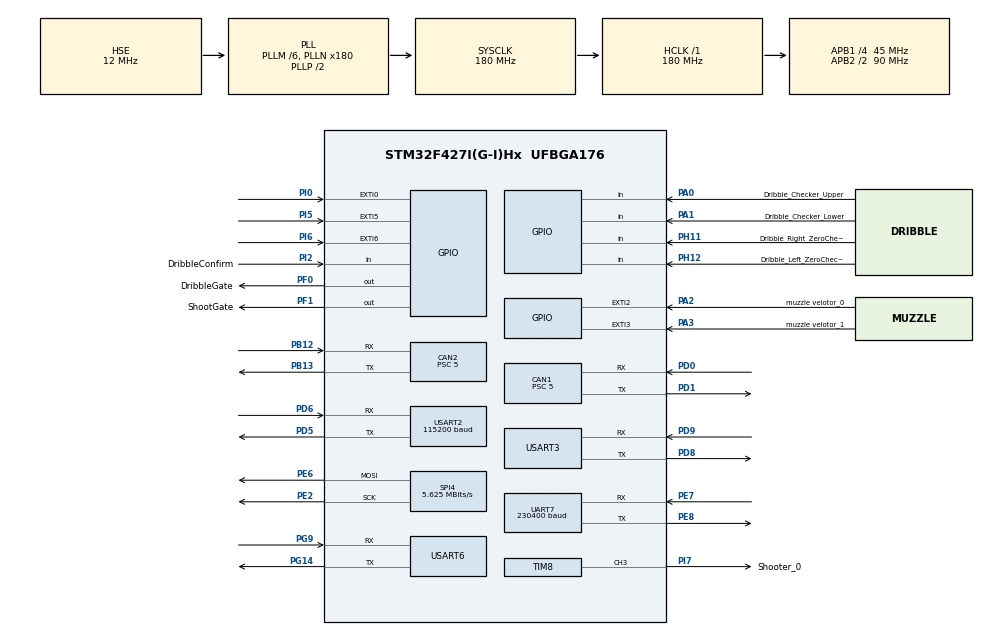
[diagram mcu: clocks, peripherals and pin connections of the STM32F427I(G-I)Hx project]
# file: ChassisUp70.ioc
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CAN1.ABOM=ENABLE
CAN1.BS1=CAN_BS1_5TQ
CAN1.BS2=CAN_BS2_3TQ
CAN1.CalculateBaudRate=1000000
CAN1.CalculateTimeBit=1000
CAN1.CalculateTimeQuantum=111.11111111111111
CAN1.Prescaler=5
CAN2.ABOM=ENABLE
CAN2.BS1=CAN_BS1_5TQ
CAN2.BS2=CAN_BS2_3TQ
CAN2.CalculateBaudRate=1000000
CAN2.CalculateTimeBit=1000
CAN2.CalculateTimeQuantum=111.11111111111111
CAN2.Prescaler=5
Dma.Request0=USART2_RX
Dma.Request1=USART2_TX
Dma.Request2=USART6_RX
Dma.Request3=USART6_TX
Dma.Request4=UART7_RX
Dma.Request5=SPI4_TX
Dma.Request6=USART3_RX
Dma.Request7=USART3_TX
Dma.SPI4_TX.5.Direction=DMA_MEMORY_TO_PERIPH
Dma.SPI4_TX.5.FIFOMode=DMA_FIFOMODE_DISABLE
Dma.SPI4_TX.5.Instance=DMA2_Stream4
Dma.SPI4_TX.5.MemDataAlignment=DMA_MDATAALIGN_BYTE
Dma.SPI4_TX.5.MemInc=DMA_MINC_ENABLE
Dma.SPI4_TX.5.Mode=DMA_NORMAL
Dma.SPI4_TX.5.PeriphDataAlignment=DMA_PDATAALIGN_BYTE
Dma.SPI4_TX.5.PeriphInc=DMA_PINC_DISABLE
Dma.SPI4_TX.5.Priority=DMA_PRIORITY_LOW
Dma.UART7_RX.4.Direction=DMA_PERIPH_TO_MEMORY
Dma.UART7_RX.4.FIFOMode=DMA_FIFOMODE_DISABLE
Dma.UART7_RX.4.Instance=DMA1_Stream3
Dma.UART7_RX.4.MemDataAlignment=DMA_MDATAALIGN_BYTE
Dma.UART7_RX.4.MemInc=DMA_MINC_ENABLE
Dma.UART7_RX.4.Mode=DMA_NORMAL
Dma.UART7_RX.4.PeriphDataAlignment=DMA_PDATAALIGN_BYTE
Dma.UART7_RX.4.PeriphInc=DMA_PINC_DISABLE
Dma.UART7_RX.4.Priority=DMA_PRIORITY_VERY_HIGH
Dma.USART2_RX.0.Direction=DMA_PERIPH_TO_MEMORY
Dma.USART2_RX.0.FIFOMode=DMA_FIFOMODE_DISABLE
Dma.USART2_RX.0.Instance=DMA1_Stream5
Dma.USART2_RX.0.MemDataAlignment=DMA_MDATAALIGN_BYTE
Dma.USART2_RX.0.MemInc=DMA_MINC_ENABLE
Dma.USART2_RX.0.Mode=DMA_NORMAL
Dma.USART2_RX.0.PeriphDataAlignment=DMA_PDATAALIGN_BYTE
Dma.USART2_RX.0.PeriphInc=DMA_PINC_DISABLE
Dma.USART2_RX.0.Priority=DMA_PRIORITY_VERY_HIGH
Dma.USART2_TX.1.Direction=DMA_MEMORY_TO_PERIPH
Dma.USART2_TX.1.FIFOMode=DMA_FIFOMODE_DISABLE
Dma.USART2_TX.1.Instance=DMA1_Stream6
Dma.USART2_TX.1.MemDataAlignment=DMA_MDATAALIGN_BYTE
Dma.USART2_TX.1.MemInc=DMA_MINC_ENABLE
Dma.USART2_TX.1.Mode=DMA_NORMAL
Dma.USART2_TX.1.PeriphDataAlignment=DMA_PDATAALIGN_BYTE
Dma.USART2_TX.1.PeriphInc=DMA_PINC_DISABLE
Dma.USART2_TX.1.Priority=DMA_PRIORITY_HIGH
Dma.USART3_RX.6.Direction=DMA_PERIPH_TO_MEMORY
Dma.USART3_RX.6.FIFOMode=DMA_FIFOMODE_DISABLE
Dma.USART3_RX.6.Instance=DMA1_Stream1
Dma.USART3_RX.6.MemDataAlignment=DMA_MDATAALIGN_BYTE
Dma.USART3_RX.6.MemInc=DMA_MINC_ENABLE
Dma.USART3_RX.6.Mode=DMA_NORMAL
Dma.USART3_RX.6.PeriphDataAlignment=DMA_PDATAALIGN_BYTE
Dma.USART3_RX.6.PeriphInc=DMA_PINC_DISABLE
Dma.USART3_RX.6.Priority=DMA_PRIORITY_VERY_HIGH
Dma.USART3_TX.7.Direction=DMA_MEMORY_TO_PERIPH
Dma.USART3_TX.7.FIFOMode=DMA_FIFOMODE_DISABLE
Dma.USART3_TX.7.Instance=DMA1_Stream4
Dma.USART3_TX.7.MemDataAlignment=DMA_MDATAALIGN_BYTE
Dma.USART3_TX.7.MemInc=DMA_MINC_ENABLE
Dma.USART3_TX.7.Mode=DMA_NORMAL
Dma.USART3_TX.7.PeriphDataAlignment=DMA_PDATAALIGN_BYTE
Dma.USART3_TX.7.PeriphInc=DMA_PINC_DISABLE
Dma.USART3_TX.7.Priority=DMA_PRIORITY_HIGH
Dma.USART6_RX.2.Direction=DMA_PERIPH_TO_MEMORY
Dma.USART6_RX.2.FIFOMode=DMA_FIFOMODE_DISABLE
Dma.USART6_RX.2.Instance=DMA2_Stream1
Dma.USART6_RX.2.MemDataAlignment=DMA_MDATAALIGN_BYTE
Dma.USART6_RX.2.MemInc=DMA_MINC_ENABLE
Dma.USART6_RX.2.Mode=DMA_NORMAL
Dma.USART6_RX.2.PeriphDataAlignment=DMA_PDATAALIGN_BYTE
Dma.USART6_RX.2.PeriphInc=DMA_PINC_DISABLE
Dma.USART6_RX.2.Priority=DMA_PRIORITY_VERY_HIGH
Dma.USART6_TX.3.Direction=DMA_MEMORY_TO_PERIPH
Dma.USART6_TX.3.FIFOMode=DMA_FIFOMODE_DISABLE
Dma.USART6_TX.3.Instance=DMA2_Stream6
Dma.USART6_TX.3.MemDataAlignment=DMA_MDATAALIGN_BYTE
Dma.USART6_TX.3.MemInc=DMA_MINC_ENABLE
Dma.USART6_TX.3.Mode=DMA_NORMAL
Dma.USART6_TX.3.PeriphDataAlignment=DMA_PDATAALIGN_BYTE
Dma.USART6_TX.3.PeriphInc=DMA_PINC_DISABLE
Dma.USART6_TX.3.Priority=DMA_PRIORITY_HIGH
Mcu.Family=STM32F4
Mcu.Name=STM32F427I(G-I)Hx
Mcu.Package=UFBGA176
NVIC.CAN1_RX0_IRQn=true\:0\:0\:false\:false\:true\:true\:true\:true
NVIC.CAN1_RX1_IRQn=true\:0\:0\:false\:false\:true\:true\:true\:true
NVIC.CAN2_RX0_IRQn=true\:0\:0\:false\:false\:true\:true\:true\:true
NVIC.CAN2_RX1_IRQn=true\:0\:0\:false\:false\:true\:true\:true\:true
NVIC.DMA1_Stream1_IRQn=true\:0\:0\:false\:false\:true\:false\:true\:true
NVIC.DMA1_Stream3_IRQn=true\:0\:0\:false\:false\:true\:false\:true\:true
NVIC.DMA1_Stream4_IRQn=true\:0\:0\:false\:false\:true\:false\:true\:true
NVIC.DMA1_Stream5_IRQn=true\:0\:0\:false\:false\:true\:false\:true\:true
NVIC.DMA1_Stream6_IRQn=true\:0\:0\:false\:false\:true\:false\:true\:true
NVIC.DMA2_Stream1_IRQn=true\:0\:0\:false\:false\:true\:false\:true\:true
NVIC.DMA2_Stream4_IRQn=true\:0\:0\:false\:false\:true\:false\:true\:true
NVIC.DMA2_Stream6_IRQn=true\:0\:0\:false\:false\:true\:false\:true\:true
NVIC.EXTI0_IRQn=true\:0\:0\:false\:false\:true\:true\:true\:true
NVIC.EXTI2_IRQn=true\:0\:0\:false\:false\:true\:true\:true\:true
NVIC.PriorityGroup=NVIC_PRIORITYGROUP_4
NVIC.TIM6_DAC_IRQn=true\:0\:0\:false\:false\:true\:true\:true\:true
NVIC.TIM7_IRQn=true\:0\:0\:false\:false\:true\:true\:true\:true
NVIC.UART7_IRQn=true\:0\:0\:false\:false\:true\:true\:true\:true
NVIC.USART2_IRQn=true\:0\:0\:false\:false\:true\:true\:true\:true
NVIC.USART3_IRQn=true\:0\:0\:false\:false\:true\:true\:true\:true
NVIC.USART6_IRQn=true\:0\:0\:false\:false\:true\:true\:true\:true
PA0/WKUP.GPIO_Label=Dribble_Checker_Upper
PA0/WKUP.GPIO_PuPd=GPIO_PULLDOWN
PA0/WKUP.Signal=GPIO_Input
PA1.GPIO_Label=Dribble_Checker_Lower
PA1.GPIO_PuPd=GPIO_PULLDOWN
PA1.Signal=GPIO_Input
PA13.Mode=Serial_Wire
PA13.Signal=SYS_JTMS-SWDIO
PA14.Mode=Serial_Wire
PA14.Signal=SYS_JTCK-SWCLK
PA2.GPIO_Label=muzzle velotor_0
PA2.GPIO_ModeDefaultEXTI=GPIO_MODE_IT_FALLING
PA2.GPIO_PuPd=GPIO_PULLUP
PA2.Signal=GPXTI2
PA3.GPIO_Label=muzzle velotor_1
PA3.GPIO_ModeDefaultEXTI=GPIO_MODE_IT_FALLING
PA3.GPIO_PuPd=GPIO_PULLUP
PA3.Signal=GPXTI3
PB12.Mode=CAN_Activate
PB12.Signal=CAN2_RX
PB13.Mode=CAN_Activate
PB13.Signal=CAN2_TX
PD0.Mode=CAN_Activate
PD0.Signal=CAN1_RX
PD1.Mode=CAN_Activate
PD1.Signal=CAN1_TX
PD5.Mode=Asynchronous
PD5.Signal=USART2_TX
PD6.Mode=Asynchronous
PD6.Signal=USART2_RX
PD8.Mode=Asynchronous
PD8.Signal=USART3_TX
PD9.Mode=Asynchronous
PD9.Signal=USART3_RX
PE2.Mode=TX_Only_Simplex_Unidirect_Master
PE2.Signal=SPI4_SCK
PE6.Mode=TX_Only_Simplex_Unidirect_Master
PE6.Signal=SPI4_MOSI
PE7.Mode=Asynchronous
PE7.Signal=UART7_RX
PE8.Mode=Asynchronous
PE8.Signal=UART7_TX
PF0.GPIO_Label=DribbleGate
PF0.GPIO_PuPd=GPIO_PULLDOWN
PF0.Signal=GPIO_Output
PF1.GPIO_Label=ShootGate
PF1.GPIO_PuPd=GPIO_PULLDOWN
PF1.GPIO_Speed=GPIO_SPEED_FREQ_MEDIUM
PF1.PinState=GPIO_PIN_RESET
PF1.Signal=GPIO_Output
PF9.Signal=SPI5_MOSI
PG14.Mode=Asynchronous
PG14.Signal=USART6_TX
PG9.Mode=Asynchronous
PG9.Signal=USART6_RX
PH0/OSC_IN.Mode=HSE-External-Oscillator
PH0/OSC_IN.Signal=RCC_OSC_IN
PH1/OSC_OUT.Mode=HSE-External-Oscillator
PH1/OSC_OUT.Signal=RCC_OSC_OUT
PH11.GPIO_Label=Dribble_Right_ZeroChecker
PH11.GPIO_PuPd=GPIO_PULLUP
PH11.Signal=GPIO_Input
PH12.GPIO_Label=Dribble_Left_ZeroChecker
PH12.GPIO_PuPd=GPIO_PULLUP
PH12.Signal=GPIO_Input
PI0.GPIO_ModeDefaultEXTI=GPIO_MODE_IT_RISING_FALLING
PI0.GPIO_PuPd=GPIO_PULLUP
PI0.Signal=GPXTI0
PI2.GPIO_Label=DribbleConfirm
PI2.GPIO_PuPd=GPIO_PULLUP
PI2.Signal=GPIO_Input
PI5.Signal=GPXTI5
PI6.Signal=GPXTI6
PI7.GPIO_Label=Shooter_0
PI7.GPIO_PuPd=GPIO_PULLDOWN
PI7.Signal=S_TIM8_CH3
ProjectManager.HeapSize=0x2000
ProjectManager.StackSize=0x2000
ProjectManager.TargetToolchain=MDK-ARM V5.32
RCC.48MHZClocksFreq_Value=90000000
RCC.AHBFreq_Value=180000000
RCC.APB1CLKDivider=RCC_HCLK_DIV4
RCC.APB1Freq_Value=45000000
RCC.APB1TimFreq_Value=90000000
RCC.APB2CLKDivider=RCC_HCLK_DIV2
RCC.APB2Freq_Value=90000000
RCC.APB2TimFreq_Value=180000000
RCC.CortexFreq_Value=180000000
RCC.HCLKFreq_Value=180000000
RCC.HSE_VALUE=12000000
RCC.HSI_VALUE=16000000
RCC.LSE_VALUE=32768
RCC.PLLM=6
RCC.PLLN=180
RCC.PLLSourceVirtual=RCC_PLLSOURCE_HSE
RCC.SYSCLKFreq_VALUE=180000000
RCC.SYSCLKSource=RCC_SYSCLKSOURCE_PLLCLK
RCC.VCOOutputFreq_Value=360000000
SH.S_TIM8_CH3.0=TIM8_CH3,PWM Generation3 CH3
SPI4.BaudRatePrescaler=SPI_BAUDRATEPRESCALER_16
SPI4.CLKPolarity=SPI_POLARITY_LOW
SPI4.CalculateBaudRate=5.625 MBits/s
SPI4.Direction=SPI_DIRECTION_2LINES
SPI4.Mode=SPI_MODE_MASTER
SPI4.VirtualType=VM_MASTER
STMicroelectronics.X-CUBE-ALGOBUILD.1.4.0.LibraryCcDSPOoLibraryJjDSPOoLibrary=true
TIM5.Period=1000000 - 1
TIM5.Prescaler=1800 - 1
TIM6.Period=5000 - 1
TIM6.Prescaler=180 - 1
TIM7.Period=1000 - 1
TIM7.Prescaler=180 - 1
TIM8.Channel-PWM\ Generation3\ CH3=TIM_CHANNEL_3
TIM8.Period=20000 - 1
TIM8.Prescaler=180 - 1
UART7.BaudRate=230400
UART7.VirtualMode=Asynchronous
USART2.BaudRate=115200
USART2.VirtualMode=VM_ASYNC
USART3.VirtualMode=VM_ASYNC
USART6.VirtualMode=VM_ASYNC
VP_STMicroelectronics.X-CUBE-ALGOBUILD_VS_DSPOoLibraryJjLibrary_1.4.0_1.4.0.Mode=DSPOoLibraryJjLibrary
VP_TIM5_VS_ClockSourceINT.Mode=Internal
VP_TIM6_VS_ClockSourceINT.Mode=Enable_Timer
VP_TIM7_VS_ClockSourceINT.Mode=Enable_Timer
VP_TIM8_VS_ClockSourceINT.Mode=Internal
board=custom

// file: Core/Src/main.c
/* USER CODE BEGIN Header */
/**
  ******************************************************************************
  * @file           : main.c
  * @brief          : Main program body
  ******************************************************************************
  * @attention
  *
  * Copyright (c) 2024 STMicroelectronics.
  * All rights reserved.
  *
  * This software is licensed under terms that can be found in the LICENSE file
  * in the root directory of this software component.
  * If no LICENSE file comes with this software, it is provided AS-IS.
  *
  ******************************************************************************
  */
/* USER CODE END Header */
#include "main.h"
#include "can.h"
#include "dma.h"
#include "spi.h"
#include "tim.h"
#include "usart.h"
#include "gpio.h"

/* USER CODE BEGIN Includes */
#include "rmt_stick.h"
#include "algorithm.h"
#include "AD7606.h"
#include "delay.h"
#include "string.h"
#include "stm32f4xx_hal_dma.h"
#include "action_OPS.h"
#include "silocator.h"
#include "motor_dm.h"
#include "bsp_can.h"
#include "flash_stm.h"
#include "motor_VESC.h"
#include "WS2812_yx.h"
#include "logic.h"
//dzx添加的库
#include "dzx_lib.h"
//-------------------
#define USE_SICKDATA

// 需要手动控制炮台时启用，调达妙时注释与否都可以调
// #define MANULLY_DEBUG

void CAN_Interrupt_Enable(CAN_HandleTypeDef *can_n);
void sendCanTXBuffer(int speed_rpm, float steer_angle_deg, uint8_t Steer_ID);
void sendCanTXBuffer_Confirm(uint8_t Steer_ID);
void sendMsgToChassis();
// 编码函数：将Vec3数据编码为字节数组
void encodeVec3(const Vec3* vec, uint8_t* buffer);
// 解码函数：从字节数组解码为Vec3数据
void decodeVec3(const uint8_t* buffer, Vec3* vec);

void WS2812_Refresh()
{
  HAL_SPI_Transmit_DMA(&hspi4, (uint8_t*)WS2812buf2send, 24 * (LED_Nums + 1));
}

int can_recvs = 0;
int send_speed_rpm = 1000;
float send_angle_deg = 30;
char print_String[48];
uint8_t vofa_data[24];

// 全局变量记录 上次触发 出膛速度测试 的时间
volatile uint32_t last_pa2_trigger_time = 0;
volatile uint32_t last_pd12_trigger_time = 0;
#define COOLDOWN_TIME_MS 1000 // 冷却时间 1 秒

// 总计时器
uint32_t General_RuntimeCounter = 0;

// 车体姿态、里程计姿态、激光修正姿态
Vec3 chassis_tf;
Vec3 odom_tf;
Vec3 silocator_tf = {0, 0, 0};

// 车体里程计
Odometer chassis_odom;

// 接收到的 Zigbee 数据包
DL_LN_Msg my_recv_msg;

uint8_t sendbuf[8] = {0};
float acc[8];

// 安全锁
int safe_locks = 0;
// 安全员倒计时
int safe_guard_timer = 0;

// // 由遥控器接收到的底盘动作
int check_can_id = 0;

// 速度增益
float VelocityGain = 1.0;
float RotateVelocityGain = 1.0;

// CAN总线接收次数
int can_1_recvtimes = 0;
int can_2_recvtimes = 0;
int can_recvtimes = 0;

// 运球3508最大电流
float m3508R_max_current = 0;
float m3508L_max_current = 0;

/***************    状态变量    *********************/
int dribble_claw_inorout = DRIBBLE_CLAW_IN;     // 开始爪子在里边
int magazine_OpenorClose = MAGAZINE_CLOSE;      // 弹匣默认关闭

/*******************    所有的初始化状态变量    *********************/    // 如果没有初始化就做动作，会产生可怕的后果！

/****************     摩擦轮转速设置    ***********************/
float VESC_rpm_up = 0;
float VESC_rpm_down = 0;
int read_VESC_id = 0;

/***********************    Debug用的标志    ***********************/
int Claw_Close_Flag = 0;
int Claw_Open_Flag = 0;

int Claw_Up_Flag = 0;
int Claw_Down_Flag = 0;
int Claw_Middle_Flag = 0;

int up_debug_flag = 0;
int down_debug_flag = 0;

float hori_distance_from_basket = 0;

int temp_1, temp_2;
float temp_float;

/***********************    达妙用的数据    ***********************/

float ShooterDM_position = 0.0f;
float MagazineDM_position = 0.015f;
float ShooterDM_speed = DM_ROUND_PERSEC / 2;
float MagazineDM_speed = DM_TWOROUND_PERSEC;

float DM_Left_position = 0;
float DM_Left_speed = 1.57;
float DM_Right_position = 0;
float DM_Right_speed = 1.57;

// 二、四、六号电机
uint8_t Two_buf[8] = {0};
uint8_t Four_buf[8] = {0};
uint8_t Six_buf[8] = {0};

// 炮筒、弹匣达妙电机
uint8_t ShooterDM_buf[8] = {0};
uint8_t MagazineDM_buf[8] = {0};

//
float sensor_value = 0.0f;

/* USER CODE END Includes */

/* USER CODE BEGIN PTD */
void vesc_decode(){

}

void HAL_CAN_RxFifo0MsgPendingCallback(CAN_HandleTypeDef *hcan)
{
  CAN_RxHeaderTypeDef RxHeader;
  uint8_t RxData[8]; // 假设CAN消息数据长度为8字节
	can_recvtimes++;

  if (hcan == &hcan1)
  {
    // 从FIFO 0中读取消息
    if (HAL_CAN_GetRxMessage(hcan, CAN_RX_FIFO0, &RxHeader, RxData) == HAL_OK)
    {
      can_1_recvtimes++;
    }
    if((RxHeader.ExtId >> 8) == 0x09)   // 如果是VESC发来的消息
      {
				read_VESC_id = RxHeader.ExtId;
        MotorVescRecvData vesc_recvs; // 新建接收用的结构体
        vesc_recvs.rx_header = RxHeader;

        for (int i = 0; i < 8; i++)
        {
          vesc_recvs.recv_data[i] = RxData[i];
        }
        motor_vesc_handle(vesc_recvs);
      }
    //HAL_CAN_ActivateNotification(&hcan1, CAN_IT_RX_FIFO0_MSG_PENDING);
  }

  else if (hcan == &hcan2)
  {
    // 从FIFO 0中读取消息
    if (HAL_CAN_GetRxMessage(hcan, CAN_RX_FIFO0, &RxHeader, RxData) == HAL_OK)
    {
      can_2_recvtimes++;

      if((RxHeader.ExtId >> 8) == 0x09)   // 如果是VESC发来的消息
      {
				read_VESC_id = RxHeader.ExtId;
        MotorVescRecvData vesc_recvs; // 新建接收用的结构体
        vesc_recvs.rx_header = RxHeader;

        for (int i = 0; i < 8; i++)
        {
          vesc_recvs.recv_data[i] = RxData[i];
        }
        motor_vesc_handle(vesc_recvs);
      }
    }
    HAL_CAN_ActivateNotification(&hcan2, CAN_IT_RX_FIFO0_MSG_PENDING|CAN_IT_RX_FIFO1_MSG_PENDING);
  }
}
void HAL_CAN_RxFifo1MsgPendingCallback(CAN_HandleTypeDef *hcan)
{
  CAN_RxHeaderTypeDef RxHeader;
  uint8_t RxData[8]; // 假设CAN消息数据长度为8字节
	can_recvtimes++;

  if (hcan == &hcan1)
  {
    // 从FIFO 0中读取消息
    if (HAL_CAN_GetRxMessage(hcan, CAN_RX_FIFO1, &RxHeader, RxData) == HAL_OK)
    {
      can_1_recvtimes++;
    }
    if((RxHeader.ExtId >> 8) == 0x09)   // 如果是VESC发来的消息
      {
				read_VESC_id = RxHeader.ExtId;
        MotorVescRecvData vesc_recvs; // 新建接收用的结构体
        vesc_recvs.rx_header = RxHeader;

        for (int i = 0; i < 8; i++)
        {
          vesc_recvs.recv_data[i] = RxData[i];
        }
        motor_vesc_handle(vesc_recvs);
      }
    //HAL_CAN_ActivateNotification(&hcan1, CAN_IT_RX_FIFO0_MSG_PENDING);
  }

  else if (hcan == &hcan2)
  {
    // 从FIFO 0中读取消息
    if (HAL_CAN_GetRxMessage(hcan, CAN_RX_FIFO1, &RxHeader, RxData) == HAL_OK)
    {
      can_2_recvtimes++;

      if((RxHeader.ExtId >> 8) == 0x09)   // 如果是VESC发来的消息
      {
				read_VESC_id = RxHeader.ExtId;
        MotorVescRecvData vesc_recvs; // 新建接收用的结构体
        vesc_recvs.rx_header = RxHeader;

        for (int i = 0; i < 8; i++)
        {
          vesc_recvs.recv_data[i] = RxData[i];
        }
        motor_vesc_handle(vesc_recvs);
      }
    }
    //HAL_CAN_ActivateNotification(&hcan2, CAN_IT_RX_FIFO0_MSG_PENDING|CAN_IT_RX_FIFO1_MSG_PENDING);
  }
}
uint8_t uart_2_rx_Buffer[48];
uint8_t preserve_Buffer[48];
int uart_recv_size = 0;

uint8_t uart_7_rx_Buffer[24];
uint8_t uart_7_saves_Buffer[24];

uint8_t uart_3_rx_Buffer[20];
uint8_t uart_3_saves_Buffer[20];

int uart_recvs = 0;

int uart_recvs_persec = 0;
int uart_recvs_persecs[16] = {0};
uint8_t uart_recvs_persecs_p = 0;
int all_uart_recvs = 0;

int TimeCounting = 0;
int sieze;

float Byte2Float(uint8_t *byte)
{
    float f;
    uint8_t *p = (uint8_t *)&f;
    p[0] = byte[0];
    p[1] = byte[1];
    p[2] = byte[2];
    p[3] = byte[3];
    return f;
}

//解析上位机的数据
int decode_PC(float *V_x, float *V_y, float *V_w, uint8_t rx_Buffer[])//有问题，不能用
{
  if (rx_Buffer[0] == 0xFA && rx_Buffer[13] == 0xFB)
  {
    float speed[3] = {0.0f, 0.0f, 0.0f};
      // 四字节转浮点数
      for (int i = 0; i < 12; i += 4)
      {
          speed[i / 4] = Byte2Float(rx_Buffer + 1 + i);
          // 想着限幅
      }
      *V_x = speed[0]*100;
      *V_y = speed[1]*100;
      *V_w = speed[2]*100;
			if(*V_x > 5) *V_x = 5;
			if(*V_y > 5) *V_y = 5;
			if(*V_w > 5) *V_w = 5;
    return 1;
  }
	return 0;
}

/* 串口中断事件回调函数，包含遥控器控制，上位机控制，需在.h中选择模式 */
void HAL_UARTEx_RxEventCallback(UART_HandleTypeDef *huart, uint16_t Size)
{
   if (huart == &huart2)   // 来自串口2
   {
			uart_recvs++;
     // 存储到临时存储区
     memcpy(preserve_Buffer, uart_2_rx_Buffer, sizeof(preserve_Buffer));

     // 如果能够成功解码
     if(rmt_decode_joystick_msg(&My_joystick, uart_2_rx_Buffer))
     {
       uart_recvs_persec++;
       // 在成功接收到遥控器时，通知安全守卫
       safe_guard_timer = SAFE_GUARD_TIME;
     }

     memset(uart_2_rx_Buffer, 0, sizeof(uart_2_rx_Buffer));
			HAL_UARTEx_ReceiveToIdle_DMA(&huart2, uart_2_rx_Buffer, sizeof(uart_2_rx_Buffer));
		 __HAL_DMA_DISABLE_IT(&hdma_usart2_rx, DMA_IT_HT);
   }

   else if (huart == &huart7 && Size == 13)   // 来自串口7
   {
			uart_recvs++;
     // 存储到临时存储区
     memcpy(uart_7_saves_Buffer, uart_7_rx_Buffer, sizeof(uart_7_saves_Buffer));
     decodeVec3(uart_7_saves_Buffer, &chassis_tf);

     memset(uart_7_rx_Buffer, 0, sizeof(uart_7_rx_Buffer));
		  HAL_UARTEx_ReceiveToIdle_DMA(&huart7, uart_7_rx_Buffer, sizeof(uart_7_rx_Buffer));
    __HAL_DMA_DISABLE_IT(&hdma_uart7_rx, DMA_IT_HT);
    }

      else if (huart == &huart3)   // 来自串口2
      {
        #ifdef USE_PC
        static float speed[3] = {0.0f, 0.0f, 0.0f};
        uart_recvs++;
        // 存储到临时存储区
        memcpy(uart_3_saves_Buffer, uart_3_rx_Buffer, sizeof(uart_3_saves_Buffer));
        if (uart_3_rx_Buffer[0] == 0xFA && uart_3_rx_Buffer[13] == 0xFB)
        {
          for (int i = 0; i < 12; i += 4)
            {
                speed[i / 4] = Byte2Float(uart_3_rx_Buffer + 1 + i);
                //限幅
                if (speed[i / 4] > 0.8)
                {
                    speed[i / 4] = 0.8;
                }
                else if (speed[i / 4] < -0.8)
                {
                    speed[i / 4] = -0.8;
                }
            }
            Vx = speed[0]*4.5;
            Vy = speed[1]*4.5;
            Vw = speed[2];
        }
				        uart_recvs_persec++;
        // 在成功接收到遥控器时，通知安全守卫
        safe_guard_timer = SAFE_GUARD_TIME;
        memset(uart_3_rx_Buffer, 0, sizeof(uart_3_rx_Buffer));
        HAL_UARTEx_ReceiveToIdle_DMA(&huart3, uart_3_rx_Buffer, sizeof(uart_3_rx_Buffer));
				__HAL_DMA_DISABLE_IT(&hdma_usart3_rx, DMA_IT_HT);
         #endif
      }

}

/* 外部中断回调函数 */
void HAL_GPIO_EXTI_Callback(uint16_t GPIO_Pin)
{
  uint32_t current_time = HAL_GetTick();

    if (GPIO_Pin == muzzle_velotor_0_Pin)    // PA2下降沿触发
    {
      if (current_time - last_pa2_trigger_time >= COOLDOWN_TIME_MS)
      {
        last_pa2_trigger_time = current_time;

        // 停止定时器（如果正在运行），重置计数器并启动
        HAL_TIM_Base_Stop(&htim5);
        __HAL_TIM_SET_COUNTER(&htim5, 0);
        HAL_TIM_Base_Start(&htim5);
      }
    }
    else if (GPIO_Pin == muzzle_velotor_1_Pin)   // PA3下降沿触发
    {
      if (current_time - last_pd12_trigger_time >= COOLDOWN_TIME_MS)
      {
        last_pd12_trigger_time = current_time;

        // 停止定时器并读取计数值
        HAL_TIM_Base_Stop(&htim5);
        muzzle_velo_count = __HAL_TIM_GET_COUNTER(&htim5);
        measurement_done = 1;  // 设置标志位
      }
    }
}
/* USER CODE END PTD */

void SystemClock_Config(void);
/* USER CODE BEGIN PFP */
volatile uint8_t lasdjfkl_flag = 0;
//测试运球的函数，上面为-3000，下面为30000，角度为0.5
void Logic_Yunqiu_test()
{

	VESC_rpm_up = -3000;
	VESC_rpm_down = 33000;
	  motor_vesc_set_rpm(0, VESC_rpm_up);
    motor_vesc_set_rpm(1, VESC_rpm_up);
    motor_vesc_set_rpm(2, VESC_rpm_down);
	HAL_Delay(1000);
	HAL_GPIO_WritePin(GPIOF, GPIO_PIN_1, GPIO_PIN_SET);
	HAL_Delay(1000);

  HAL_GPIO_WritePin(GPIOF, GPIO_PIN_1, GPIO_PIN_RESET);
		HAL_Delay(10);
	VESC_rpm_up = -3000;
	VESC_rpm_down = -3000;
	  motor_vesc_set_rpm(0, VESC_rpm_up);
    motor_vesc_set_rpm(1, VESC_rpm_up);
    motor_vesc_set_rpm(2, VESC_rpm_down);

	lasdjfkl_flag = 0;

}
/* USER CODE END PFP */

/* USER CODE BEGIN 0 */

/*************    这些是灯带状态的实现变量，全都是全局变量    ****************/

extern Vec3 chassis_speed_vec;
float dzx_freq;
volatile uint8_t eee_flag=0;

/* USER CODE END 0 */

int main(void)
{

  /* MCU Configuration--------------------------------------------------------*/

  /* Reset of all peripherals, Initializes the Flash interface and the Systick. */
  HAL_Init();

  /* Configure the system clock */
  SystemClock_Config();

  /* Initialize all configured peripherals */
  MX_GPIO_Init();
  MX_DMA_Init();
  MX_CAN1_Init();
  MX_USART2_UART_Init();
  MX_TIM6_Init();
  MX_USART6_UART_Init();
  MX_TIM8_Init();
  MX_CAN2_Init();
  MX_TIM5_Init();
  MX_UART7_Init();
  MX_TIM7_Init();
  MX_SPI4_Init();
  MX_USART3_UART_Init();
  /* USER CODE BEGIN 2 */
  /************     初始化 灯带    **************/
  // WS2812_InitBuffer();
  // WS2812_AddStateLink(&carinit_flag, &NJUST_Purple_Expand);
  // WS2812_AddStateLink(&idle_flag, &Test_2c_gradflow);
  // WS2812_AddStateLink(&drbl_flag, &NJUST_Purple_Flow);
  // WS2812_AddStateLink(&gunload_flag, &Wonderful);
  // WS2812_AddStateLink(&FaShe_flag, &Wonderful);
  /************     初始化 气缸GPIO     **************/
	HAL_GPIO_WritePin(GPIOF, GPIO_PIN_1, GPIO_PIN_RESET);//继电器高电平触发

  /******************     初始化 摩擦轮    ************************/
  MotorVESC_Init(&motor_vesc_1, &hcan1, 0, 58);    // 左上
  MotorVESC_Init(&motor_vesc_2, &hcan1, 1, 72);     // 右上
  MotorVESC_Init(&motor_vesc_3, &hcan1, 2, 97);     // 下面那个
  // motor_c620_init(&hcan1);
  // M3508_Left = pids_create_init(0.18, 0.1, 0.0, 0.001, 250, 0.25, 0);
  // M3508_Right = pids_create_init(0.18, 0.1, 0.0, 0.001, 250, 0.25, 0);

  HAL_Delay(100);
  /************     使能定时器中断    **************/
  HAL_TIM_Base_Start_IT(&htim6);
  HAL_TIM_Base_Start_IT(&htim7);

  HAL_Delay(100);
  /************     初始化CAN1和CAN2    **************/
  bspcan_filter_init_recv_all(&hcan1);
  //CAN_Interrupt_Enable(&hcan1);
  HAL_CAN_Start(&hcan1);
  bspcan_filter_init_recv_all(&hcan2);
//  CAN_Interrupt_Enable(&hcan2);
  HAL_CAN_Start(&hcan2);

  HAL_Delay(100);
  /************     初始化  串口中断    **************/
	//  __HAL_UART_ENABLE_IT(&huart2,UART_IT_IDLE); //不用开
//	__HAL_UART_ENABLE_IT(&huart7,UART_IT_IDLE);
//  __HAL_UART_ENABLE_IT(&huart3,UART_IT_IDLE);
  HAL_UARTEx_ReceiveToIdle_DMA(&huart2, uart_2_rx_Buffer, sizeof(uart_2_rx_Buffer));    // 启动 串口DMA 空闲中断
  HAL_UARTEx_ReceiveToIdle_DMA(&huart7, uart_7_rx_Buffer, sizeof(uart_7_rx_Buffer));
  HAL_UARTEx_ReceiveToIdle_DMA(&huart3, uart_3_rx_Buffer, sizeof(uart_3_rx_Buffer));
  __HAL_DMA_DISABLE_IT(&hdma_usart2_rx, DMA_IT_HT);             // 关闭 DMA 传输过半中断（好像没啥用）
  __HAL_DMA_DISABLE_IT(&hdma_usart3_rx, DMA_IT_HT);
  __HAL_DMA_DISABLE_IT(&hdma_uart7_rx, DMA_IT_HT);

  HAL_Delay(100);
  /************     初始化  达妙电机    **************/
  // DM_buf_send(DM_MOTORID_MAGAZINE, DM_enable_buf, DM_MESTYPE_INIT);
  // HAL_Delay(75);
  // DM_get_posispd_buffer(MagazineDM_buf, 0.0f, DM_TWOROUND_PERSEC);
  // DM_buf_send(DM_MOTORID_MAGAZINE, MagazineDM_buf, DM_MESTYPE_POSITION);
  // HAL_Delay(1000);
  DM_buf_send(DM_MOTORID_SHOOTER, DM_enable_buf, DM_MESTYPE_POSITION);
  HAL_Delay(75);
  DM_get_posispd_buffer(ShooterDM_buf, 0.0f, DM_HALFROUND_PERSEC / 4);
  DM_buf_send(DM_MOTORID_SHOOTER, ShooterDM_buf, DM_MESTYPE_POSITION);

  HAL_Delay(100);
  /****************     方便下代码用的，可以去了    **********************/

  //
	DWT_Init(180);
  /* USER CODE END 2 */

  /* Infinite loop */
  /* USER CODE BEGIN WHILE */

  while (1)
  {
		//测试运球，下面是30000，上面是-3000
		 if(eee_flag==1){
		 	HAL_GPIO_WritePin(GPIOF, GPIO_PIN_1, GPIO_PIN_SET);
		 }
		 else HAL_GPIO_WritePin(GPIOF, GPIO_PIN_1, GPIO_PIN_RESET);

		// if(lasdjfkl_flag == 1) Logic_Yunqiu_test();
		//测试电机
		// MotorVESC_SetMotorRPM(&motor_vesc_1, motor_vesc_1.motor_rpm_set);
		// MotorVESC_SetMotorRPM(&motor_vesc_2, motor_vesc_2.motor_rpm_set);
		// MotorVESC_SetMotorRPM(&motor_vesc_3, motor_vesc_3.motor_rpm_set);
    // temp_1 = Claw_Dribble_Checker_Up;
    // temp_1 = HAL_GPIO_ReadPin(DribbleConfirm_GPIO_Port, DribbleConfirm_Pin);
    temp_2 = M3508CLAW_DribbleConf;
    // temp_float = magazine_linear(ShooterDM_position);

    /***************    向底盘发送消息    *******************/
    static uint32_t dzx_time=0;
    dzx_freq=DWT_GetDeltaT(&dzx_time);
		  // 计算摇杆输入
  rmt_estimate_js_input();
  // 映射摇杆输入到底盘速度
  algo_js_to_chassis_vec(&chassis_speed_vec, My_joystick);
  // 限制底盘输入
  algo_chassis_vec_constrain(&chassis_speed_vec, 0.1);

  // 右拨杆 确定速度等级
  if (RIGHT_PADDLE_IS_UP)
  {
    VelocityGain = 1.0;
  }
  else if (RIGHT_PADDLE_IS_MIDDLE)
  {
    VelocityGain = 2.0;
  }
  else if (RIGHT_PADDLE_IS_DOWN)
  {
    VelocityGain = 3.0;
  }
  else
  {
    VelocityGain = 0.5;
  }

  // 将底盘速度矢量分解到每个舵轮上
  algo_calc_steer_vecs_3(-Vx * VelocityGain, -Vy * VelocityGain, Vw * RotateVelocityGain, STR_MS);

	sendMsgToChassis();

    /***************    计算出膛速度    *******************/
    if (measurement_done)
    {
        measurement_done = 0;
        // 转换为秒（TIM5时钟为1MHz，每个计数=1μs）
        muzzle_velo_seconds = (float)muzzle_velo_count / 50000.0f;
        // 计算出速度
        muzzle_velo = MUZZLE_CHECKER_LEN / muzzle_velo_seconds;
    }

    /***************    循环控制  达妙  和  VESC，避免丢包    *******************/
    //调整炮塔仰角     (注：数值为RAD，不要填很大！，然后往前倾是负的)
//    DM_get_PosiSpd_bufferlim(ShooterDM_buf, ShooterDM_position, ShooterDM_speed, ShooterDM_Vertical, ShooterDM_Horizontal);
    DM_get_posispd_buffer(ShooterDM_buf, ShooterDM_position, ShooterDM_speed);
		DM_buf_send(DM_MOTORID_SHOOTER, ShooterDM_buf, DM_MESTYPE_POSITION);
    HAL_Delay(1);
    // // 调整弹匣开合
    // DM_get_PosiSpd_bufferlim(MagazineDM_buf, MagazineDM_position, MagazineDM_speed, 0.06, magazine_linear(ShooterDM_position));
    // DM_buf_send(DM_MOTORID_MAGAZINE, MagazineDM_buf, DM_MESTYPE_POSITION);

    motor_vesc_set_rpm(0, VESC_rpm_up);
    motor_vesc_set_rpm(1, VESC_rpm_up);
		// 0626 23：32 临时修改一下，目的是为了方便投篮的测试
    motor_vesc_set_rpm(2, VESC_rpm_down);

    /***************    发送串口消息    *******************/
    //snprintf((char*)vofa_data, sizeof(vofa_data), "d:%.2f,%.2f\n", m3508L_max_current, m3508R_max_current);
    // HAL_UART_Transmit_DMA(&huart6, vofa_data, sizeof(vofa_data));

    HAL_Delay(9);
    TimeCounting += 10;
    /* USER CODE END WHILE */

  }
}

void SystemClock_Config(void)
{
  RCC_OscInitTypeDef RCC_OscInitStruct = {0};
  RCC_ClkInitTypeDef RCC_ClkInitStruct = {0};

  /** Configure the main internal regulator output voltage
  */
  __HAL_RCC_PWR_CLK_ENABLE();
  __HAL_PWR_VOLTAGESCALING_CONFIG(PWR_REGULATOR_VOLTAGE_SCALE1);

  /** Initializes the RCC Oscillators according to the specified parameters
  * in the RCC_OscInitTypeDef structure.
  */
  RCC_OscInitStruct.OscillatorType = RCC_OSCILLATORTYPE_HSE;
  RCC_OscInitStruct.HSEState = RCC_HSE_ON;
  RCC_OscInitStruct.PLL.PLLState = RCC_PLL_ON;
  RCC_OscInitStruct.PLL.PLLSource = RCC_PLLSOURCE_HSE;
  RCC_OscInitStruct.PLL.PLLM = 6;
  RCC_OscInitStruct.PLL.PLLN = 180;
  RCC_OscInitStruct.PLL.PLLP = RCC_PLLP_DIV2;
  RCC_OscInitStruct.PLL.PLLQ = 4;
  if (HAL_RCC_OscConfig(&RCC_OscInitStruct) != HAL_OK)
  {
    Error_Handler();
  }

  /** Activate the Over-Drive mode
  */
  if (HAL_PWREx_EnableOverDrive() != HAL_OK)
  {
    Error_Handler();
  }

  /** Initializes the CPU, AHB and APB buses clocks
  */
  RCC_ClkInitStruct.ClockType = RCC_CLOCKTYPE_HCLK|RCC_CLOCKTYPE_SYSCLK
                              |RCC_CLOCKTYPE_PCLK1|RCC_CLOCKTYPE_PCLK2;
  RCC_ClkInitStruct.SYSCLKSource = RCC_SYSCLKSOURCE_PLLCLK;
  RCC_ClkInitStruct.AHBCLKDivider = RCC_SYSCLK_DIV1;
  RCC_ClkInitStruct.APB1CLKDivider = RCC_HCLK_DIV4;
  RCC_ClkInitStruct.APB2CLKDivider = RCC_HCLK_DIV2;

  if (HAL_RCC_ClockConfig(&RCC_ClkInitStruct, FLASH_LATENCY_5) != HAL_OK)
  {
    Error_Handler();
  }
}

/* USER CODE BEGIN 4 */

// 编码函数实现
void encodeVec3(const Vec3* vec, uint8_t* buffer) {
    memcpy(buffer, &vec->x, sizeof(float));
    memcpy(buffer + sizeof(float), &vec->y, sizeof(float));
    memcpy(buffer + 2 * sizeof(float), &vec->z, sizeof(float));
}

// 解码函数实现
void decodeVec3(const uint8_t* buffer, Vec3* vec) {
    memcpy(&vec->x, buffer, sizeof(float));
    memcpy(&vec->y, buffer + sizeof(float), sizeof(float));
    memcpy(&vec->z, buffer + 2 * sizeof(float), sizeof(float));
}

void CAN_Interrupt_Enable(CAN_HandleTypeDef *can_n)
{
    if (HAL_CAN_ActivateNotification(can_n, CAN_IT_RX_FIFO0_MSG_PENDING|CAN_IT_RX_FIFO1_MSG_PENDING) != HAL_OK)
    {
        Error_Handler();
        // 中断配置失败处理
    }
}

// 安全锁 置位 时，才可向底盘发送消息
float	steer_angle_offset_0 = 0;
float	steer_angle_offset_1	= 0;
float	steer_angle_offset_2 = 0;//舵轮零位补偿，该值大于0时，轮顺时针转
void sendMsgToChassis()
{
  if (safe_locks)
    {
        if (STR_MS[0].x < 120)   // 如果慢于这个速度
        {
          sendCanTXBuffer(0, algo_steerangles_preserve[0], 1);
        }
        else
        {
          algo_steerangles_preserve[0] = STR_MS[0].y;   // 存储下角度
					algo_steerangles_preserve[0] += steer_angle_offset_0;
          sendCanTXBuffer(STR_MS[0].x * VelocityGain, algo_steerangles_preserve[0], 1);
        }

        if (STR_MS[1].x < 120)   // 如果慢于这个速度
        {
          sendCanTXBuffer(0, algo_steerangles_preserve[1], 2);
        }
        else
        {
          algo_steerangles_preserve[1] = STR_MS[1].y;   // 存储下角度
					algo_steerangles_preserve[1] += steer_angle_offset_1;
          sendCanTXBuffer(STR_MS[1].x * VelocityGain, algo_steerangles_preserve[1], 2);
        }

        if (STR_MS[2].x < 120)   // 如果慢于这个速度
        {
          sendCanTXBuffer(0, algo_steerangles_preserve[2], 3);
        }
        else
        {
          algo_steerangles_preserve[2] = STR_MS[2].y;   // 存储下角度
					algo_steerangles_preserve[2] += steer_angle_offset_2;
          sendCanTXBuffer(STR_MS[2].x * VelocityGain, algo_steerangles_preserve[2], 3);
        }
    }
    else    // 安全锁不置位时，确认链接
    {
        sendCanTXBuffer_Confirm(1);
        sendCanTXBuffer_Confirm(2);
        sendCanTXBuffer_Confirm(3);
    }
}

void sendCanTXBuffer(int speed_rpm, float steer_angle_deg, uint8_t Steer_ID)
{
  static uint32_t txmailbox;		        // CAN 邮箱
  CAN_TxHeaderTypeDef TxMsg;		        // TX 消息

  TxMsg.DLC = 0x08 ;		          // CAN 消息长度设置为8个字节
  TxMsg.RTR = CAN_RTR_DATA ;		        // 非远程帧，普通数据帧
  TxMsg.IDE = CAN_ID_EXT ;		          // 发送的帧是扩展帧
  TxMsg.ExtId = STEER_Control * Steer_ID;             // CAN_ID

  TxMsg.TransmitGlobalTime = DISABLE;

  // 调制速度信息
  sendbuf[0] = speed_rpm >> 24;
  sendbuf[1] = speed_rpm >> 16;
  sendbuf[2] = speed_rpm >> 8;
  sendbuf[3] = speed_rpm & 0xff;

  // 调制角度信息（将0-360度变换为0-16384）
  // 角度归一化到0-360度
  while (steer_angle_deg < 0) steer_angle_deg += 360.0;
  while (steer_angle_deg >= 360.0) steer_angle_deg -= 360.0;

  // 转换为0-16384范围内的整数
  int steer_angle_code = (int)((steer_angle_deg / 360.0) * 16384);
  sendbuf[4] = steer_angle_code >> 24;
  sendbuf[5] = steer_angle_code >> 16;
  sendbuf[6] = steer_angle_code >> 8;
  sendbuf[7] = steer_angle_code & 0x00ff;

  // 发送消息
  while (HAL_CAN_GetTxMailboxesFreeLevel(&hcan2) == 0);     // 等待CAN邮箱

	HAL_CAN_AddTxMessage(&hcan2, &TxMsg, sendbuf, &txmailbox);
}

/**
 *
 *
 *
 */
void sendCanTXBuffer_Confirm(uint8_t Steer_ID)
{
  static uint32_t txmailbox;		        // CAN 邮箱
  CAN_TxHeaderTypeDef TxMsg;		        // TX 消息

  TxMsg.DLC = (uint8_t)8 ;		          // CAN 消息长度设置为8个字节
  TxMsg.RTR = CAN_RTR_DATA ;		        // 非远程帧，普通数据帧
  TxMsg.IDE = CAN_ID_EXT ;		          // 发送的帧是扩展帧
  TxMsg.ExtId = STEER_LinkConfirm * Steer_ID;             // CAN_ID
  TxMsg.TransmitGlobalTime = DISABLE;

  sendbuf[0] = 0;
  sendbuf[1] = 0;
  sendbuf[2] = 0;
  sendbuf[3] = 0;
  sendbuf[4] = 0;
  sendbuf[5] = 0;
  sendbuf[6] = 0;
  sendbuf[7] = 0;

  // 发送消息
  while (HAL_CAN_GetTxMailboxesFreeLevel(&hcan2) == 0);     // 等待CAN邮箱
	HAL_CAN_AddTxMessage(&hcan2, &TxMsg, sendbuf, &txmailbox);

}

/* USER CODE END 4 */

void Error_Handler(void)
{
  __disable_irq();
  while (1)
  {
  }
}
